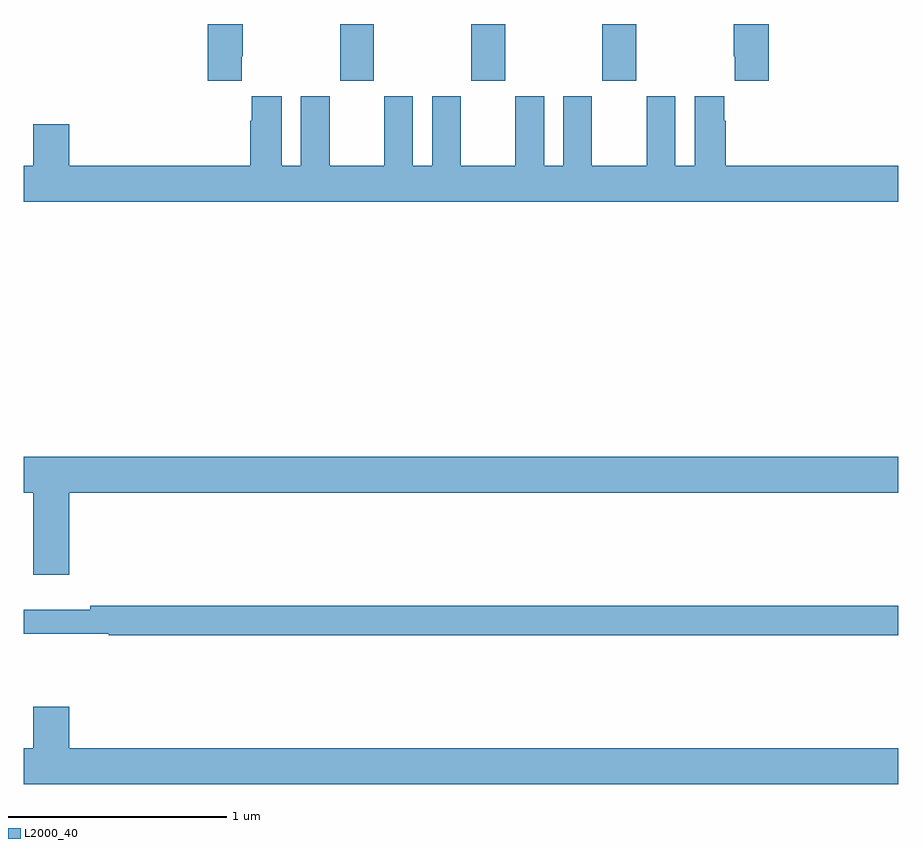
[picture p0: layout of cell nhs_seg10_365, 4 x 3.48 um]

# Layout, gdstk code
import gdstk
lib = gdstk.Library(unit=1e-6, precision=1e-09)
def R(c, l, rs):  # rectangles x0, y0, x1, y1
    for r in rs: c.add(gdstk.rectangle(r[:2], r[2:], *l))
def A(c, l, x, y, w, h, nx, ny, dx, dy):  # array of equal rectangles
    R(c, l, [(x+i*dx, y+j*dy, x+i*dx+w, y+j*dy+h) for i in range(nx) for j in range(ny)])
def P(c, l, *ps):  # polygons
    for p in ps: c.add(gdstk.Polygon(p, *l))
L2000_40 = (2000, 40)

nhs_seg10_365 = lib.new_cell('nhs_seg10_365')
A(nhs_seg10_365, L2000_40, 130.447, 1262.241, 0.155, 0.259, 3, 1, 0.6, 0)
P(nhs_seg10_365, L2000_40, [(129.997,1262.353),(130.002,1262.353),(130.002,1262.5),(129.842,1262.5),(129.842,1262.241),(129.997,1262.241)],
  [(132.407,1262.5),(132.247,1262.5),(132.247,1262.353),(132.251,1262.353),(132.251,1262.241),(132.407,1262.241)],
  [(133,1261.852),(132.212,1261.852),(132.212,1262.057),(132.205,1262.057),(132.205,1262.17),(132.068,1262.17),(132.068,1261.852),(131.98,1261.852),(131.98,1262.17),(131.849,1262.17),(131.849,1261.852),(131.599,1261.852),(131.599,1262.17),(131.468,1262.17),(131.468,1261.852),(131.38,1261.852),(131.38,1262.17),(131.249,1262.17),(131.249,1261.852),(130.999,1261.852),(130.999,1262.17),(130.868,1262.17),(130.868,1261.852),(130.78,1261.852),(130.78,1262.17),(130.649,1262.17),(130.649,1261.852),(130.399,1261.852),(130.399,1262.17),(130.268,1262.17),(130.268,1261.852),(130.18,1261.852),(130.18,1262.17),(130.043,1262.17),(130.043,1262.057),(130.037,1262.057),(130.037,1261.852),(129.208,1261.852),(129.208,1262.041),(129.044,1262.041),(129.044,1261.852),(129,1261.852),(129,1261.688),(133,1261.688)],
  [(129.208,1260.356),(133,1260.356),(133,1260.52),(129,1260.52),(129,1260.356),(129.044,1260.356),(129.044,1259.982),(129.208,1259.982)],
  [(133,1259.84),(129.304,1259.84),(129.304,1259.821),(129,1259.821),(129,1259.712),(129.388,1259.712),(129.388,1259.704),(133,1259.704)],
  [(133,1259.188),(129.208,1259.188),(129.208,1259.377),(129.044,1259.377),(129.044,1259.188),(129,1259.188),(129,1259.024),(133,1259.024)])

lib.write_gds('nhs_seg10_365.gds')
